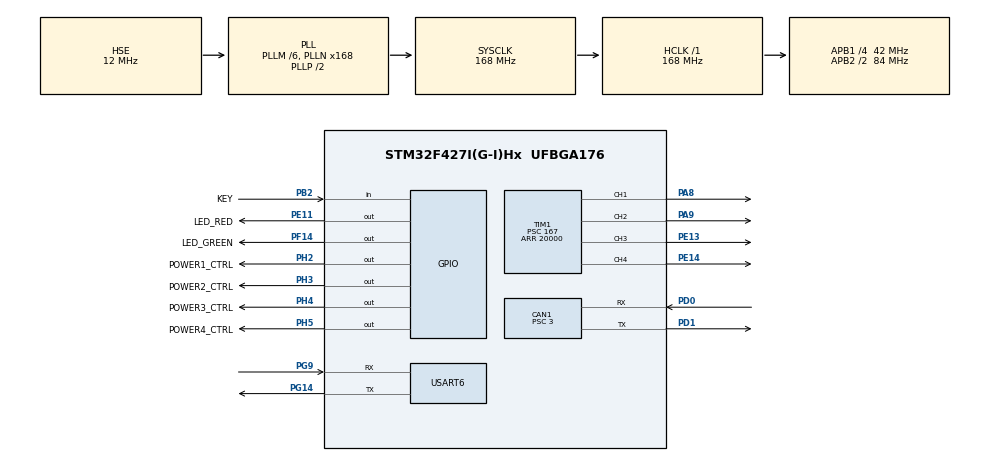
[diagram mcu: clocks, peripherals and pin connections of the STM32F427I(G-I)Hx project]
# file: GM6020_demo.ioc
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CAN1.ABOM=ENABLE
CAN1.BS1=CAN_BS1_9TQ
CAN1.BS2=CAN_BS2_4TQ
CAN1.CalculateTimeQuantum=71.42857142857143
CAN1.NART=DISABLE
CAN1.Prescaler=3
CAN1.SJW=CAN_SJW_1TQ
Mcu.Family=STM32F4
Mcu.Name=STM32F427I(G-I)Hx
Mcu.Package=UFBGA176
NVIC.CAN1_RX0_IRQn=true\:0\:0\:false\:false\:true\:true\:true\:true
NVIC.CAN1_TX_IRQn=true\:0\:0\:false\:false\:true\:true\:true\:true
NVIC.PriorityGroup=NVIC_PRIORITYGROUP_4
NVIC.USART6_IRQn=true\:0\:0\:false\:false\:true\:true\:true\:true
PA8.Signal=S_TIM1_CH1
PA9.Signal=S_TIM1_CH2
PB2/BOOT1.GPIO_Label=KEY
PB2/BOOT1.Signal=GPIO_Input
PD0.Mode=Master
PD0.Signal=CAN1_RX
PD1.Mode=Master
PD1.Signal=CAN1_TX
PE11.GPIO_Label=LED_RED
PE11.Signal=GPIO_Output
PE13.Signal=S_TIM1_CH3
PE14.Signal=S_TIM1_CH4
PF14.GPIO_Label=LED_GREEN
PF14.Signal=GPIO_Output
PG14.Mode=Asynchronous
PG14.Signal=USART6_TX
PG9.Mode=Asynchronous
PG9.Signal=USART6_RX
PH0/OSC_IN.Mode=HSE-External-Oscillator
PH0/OSC_IN.Signal=RCC_OSC_IN
PH1/OSC_OUT.Mode=HSE-External-Oscillator
PH1/OSC_OUT.Signal=RCC_OSC_OUT
PH2.GPIO_Label=POWER1_CTRL
PH2.Signal=GPIO_Output
PH3.GPIO_Label=POWER2_CTRL
PH3.Signal=GPIO_Output
PH4.GPIO_Label=POWER3_CTRL
PH4.Signal=GPIO_Output
PH5.GPIO_Label=POWER4_CTRL
PH5.Signal=GPIO_Output
ProjectManager.HeapSize=0x200
ProjectManager.StackSize=0x400
ProjectManager.TargetToolchain=MDK-ARM V5
RCC.48MHZClocksFreq_Value=84000000
RCC.AHBFreq_Value=168000000
RCC.APB1CLKDivider=RCC_HCLK_DIV4
RCC.APB1Freq_Value=42000000
RCC.APB1TimFreq_Value=84000000
RCC.APB2CLKDivider=RCC_HCLK_DIV2
RCC.APB2Freq_Value=84000000
RCC.APB2TimFreq_Value=168000000
RCC.CortexFreq_Value=168000000
RCC.HCLKFreq_Value=168000000
RCC.HSE_VALUE=12000000
RCC.HSI_VALUE=16000000
RCC.LSE_VALUE=32768
RCC.PLLM=6
RCC.PLLN=168
RCC.PLLSourceVirtual=RCC_PLLSOURCE_HSE
RCC.SYSCLKFreq_VALUE=168000000
RCC.SYSCLKSource=RCC_SYSCLKSOURCE_PLLCLK
RCC.VCOOutputFreq_Value=336000000
SH.S_TIM1_CH1.0=TIM1_CH1,PWM Generation1 CH1
SH.S_TIM1_CH2.0=TIM1_CH2,PWM Generation2 CH2
SH.S_TIM1_CH3.0=TIM1_CH3,PWM Generation3 CH3
SH.S_TIM1_CH4.0=TIM1_CH4,PWM Generation4 CH4
TIM1.Channel-PWM\ Generation1\ CH1=TIM_CHANNEL_1
TIM1.Channel-PWM\ Generation2\ CH2=TIM_CHANNEL_2
TIM1.Channel-PWM\ Generation3\ CH3=TIM_CHANNEL_3
TIM1.Channel-PWM\ Generation4\ CH4=TIM_CHANNEL_4
TIM1.Period=20000
TIM1.Prescaler=167
TIM1.Pulse-PWM\ Generation1\ CH1=1000
TIM1.Pulse-PWM\ Generation2\ CH2=1000
TIM1.Pulse-PWM\ Generation3\ CH3=1000
TIM1.Pulse-PWM\ Generation4\ CH4=1000
USART6.VirtualMode=VM_ASYNC
board=PWM

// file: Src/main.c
/* USER CODE BEGIN Header */
/**
  ******************************************************************************
  * @file           : main.c
  * @brief          : Main program body
  ******************************************************************************
  ** This notice applies to any and all portions of this file
  * that are not between comment pairs USER CODE BEGIN and
  * USER CODE END. Other portions of this file, whether
  * inserted by the user or by software development tools
  * are owned by their respective copyright owners.
  *
  * COPYRIGHT(c) 2018 STMicroelectronics
  *
  * Redistribution and use in source and binary forms, with or without modification,
  * are permitted provided that the following conditions are met:
  *   1. Redistributions of source code must retain the above copyright notice,
  *      this list of conditions and the following disclaimer.
  *   2. Redistributions in binary form must reproduce the above copyright notice,
  *      this list of conditions and the following disclaimer in the documentation
  *      and/or other materials provided with the distribution.
  *   3. Neither the name of STMicroelectronics nor the names of its contributors
  *      may be used to endorse or promote products derived from this software
  *      without specific prior written permission.
  *
  * THIS SOFTWARE IS PROVIDED BY THE COPYRIGHT HOLDERS AND CONTRIBUTORS "AS IS"
  * AND ANY EXPRESS OR IMPLIED WARRANTIES, INCLUDING, BUT NOT LIMITED TO, THE
  * IMPLIED WARRANTIES OF MERCHANTABILITY AND FITNESS FOR A PARTICULAR PURPOSE ARE
  * DISCLAIMED. IN NO EVENT SHALL THE COPYRIGHT HOLDER OR CONTRIBUTORS BE LIABLE
  * FOR ANY DIRECT, INDIRECT, INCIDENTAL, SPECIAL, EXEMPLARY, OR CONSEQUENTIAL
  * DAMAGES (INCLUDING, BUT NOT LIMITED TO, PROCUREMENT OF SUBSTITUTE GOODS OR
  * SERVICES; LOSS OF USE, DATA, OR PROFITS; OR BUSINESS INTERRUPTION) HOWEVER
  * CAUSED AND ON ANY THEORY OF LIABILITY, WHETHER IN CONTRACT, STRICT LIABILITY,
  * OR TORT (INCLUDING NEGLIGENCE OR OTHERWISE) ARISING IN ANY WAY OUT OF THE USE
  * OF THIS SOFTWARE, EVEN IF ADVISED OF THE POSSIBILITY OF SUCH DAMAGE.
  *
  ******************************************************************************
  */
/* USER CODE END Header */

#include "main.h"
#include "can.h"
#include "tim.h"
#include "usart.h"
#include "gpio.h"

/* USER CODE BEGIN Includes */
#include "bsp_key.h"
#include "bsp_led.h"
#include "bsp_can.h"
#include "bsp_pwm.h"
#include "pid.h"
/* USER CODE END Includes */

/* USER CODE BEGIN PV */
extern moto_info_t motor_info[MOTOR_MAX_NUM];
int16_t led_cnt;
pid_struct_t motor_pid[7];
float target_speed;
uint16_t pwm_pulse = 1080;  // default pwm pulse width:1080~1920
/* USER CODE END PV */

void SystemClock_Config(void);

int main(void)
{

  /* MCU Configuration--------------------------------------------------------*/

  /* Reset of all peripherals, Initializes the Flash interface and the Systick. */
  HAL_Init();

  /* Configure the system clock */
  SystemClock_Config();

  /* Initialize all configured peripherals */
  MX_GPIO_Init();
  MX_CAN1_Init();
  MX_TIM1_Init();
  MX_USART6_UART_Init();
  /* USER CODE BEGIN 2 */
  HAL_GPIO_WritePin(GPIOH, POWER1_CTRL_Pin|POWER2_CTRL_Pin|POWER3_CTRL_Pin|POWER4_CTRL_Pin, GPIO_PIN_SET); // switch on 24v power
  pwm_init();                              // start pwm output
  can_user_init(&hcan1);                   // config can filter, start can
  for (uint8_t i = 0; i < 7; i++)
  {
    pid_init(&motor_pid[i], 25, 0, 0.05, 9000, 9000); //init pid parameter, kp=25, ki=0, kd=0.05, output limit = 30000
  }
  /* USER CODE END 2 */

  /* Infinite loop */
  /* USER CODE BEGIN WHILE */
//	uint8_t mode,num;
  while (1)
  {

    /* led blink */
    led_cnt ++;
    if (led_cnt == 250)
    {
      led_cnt = 0;
      LED_RED_TOGGLE(); //blink cycle 500ms
    }

    /* scan is key be pressd down to change target speed and pwm pulse */

		//按下按键后电机旋转180度
    if (key_scan())
    {
			target_speed += 4000.0f;
			if(target_speed==8000)
			{
				target_speed = 0;
			}

    }

    /* motor speed pid calc */
    for (uint8_t i = 0; i < 7; i++)
    {
      motor_info[i].set_voltage = pid_calc(&motor_pid[i], target_speed, motor_info[i].rotor_angle);
    }
    /* send motor control message through can bus*/
    set_motor_voltage(0,
                      motor_info[0].set_voltage,
                      motor_info[1].set_voltage,
                      motor_info[2].set_voltage,
                      motor_info[3].set_voltage);

    set_motor_voltage(1,
                      motor_info[4].set_voltage,
                      motor_info[5].set_voltage,
                      motor_info[6].set_voltage,
                      0);

		printf("%d,%d\n",motor_info[0].rotor_angle,(int)target_speed);
    /* set pwm pulse width */
    __HAL_TIM_SetCompare(&htim1, TIM_CHANNEL_1, pwm_pulse);
    __HAL_TIM_SetCompare(&htim1, TIM_CHANNEL_2, pwm_pulse);
    __HAL_TIM_SetCompare(&htim1, TIM_CHANNEL_3, pwm_pulse);
    __HAL_TIM_SetCompare(&htim1, TIM_CHANNEL_4, pwm_pulse);

    /* system delay 1ms */
    HAL_Delay(0);
    /* USER CODE END WHILE */

  }
}

void SystemClock_Config(void)
{
  RCC_OscInitTypeDef RCC_OscInitStruct = {0};
  RCC_ClkInitTypeDef RCC_ClkInitStruct = {0};

  /**Configure the main internal regulator output voltage
  */
  __HAL_RCC_PWR_CLK_ENABLE();
  __HAL_PWR_VOLTAGESCALING_CONFIG(PWR_REGULATOR_VOLTAGE_SCALE1);
  /**Initializes the CPU, AHB and APB busses clocks
  */
  RCC_OscInitStruct.OscillatorType = RCC_OSCILLATORTYPE_HSE;
  RCC_OscInitStruct.HSEState = RCC_HSE_ON;
  RCC_OscInitStruct.PLL.PLLState = RCC_PLL_ON;
  RCC_OscInitStruct.PLL.PLLSource = RCC_PLLSOURCE_HSE;
  RCC_OscInitStruct.PLL.PLLM = 6;
  RCC_OscInitStruct.PLL.PLLN = 168;
  RCC_OscInitStruct.PLL.PLLP = RCC_PLLP_DIV2;
  RCC_OscInitStruct.PLL.PLLQ = 4;
  if (HAL_RCC_OscConfig(&RCC_OscInitStruct) != HAL_OK)
  {
    Error_Handler();
  }
  /**Initializes the CPU, AHB and APB busses clocks
  */
  RCC_ClkInitStruct.ClockType = RCC_CLOCKTYPE_HCLK|RCC_CLOCKTYPE_SYSCLK
                              |RCC_CLOCKTYPE_PCLK1|RCC_CLOCKTYPE_PCLK2;
  RCC_ClkInitStruct.SYSCLKSource = RCC_SYSCLKSOURCE_PLLCLK;
  RCC_ClkInitStruct.AHBCLKDivider = RCC_SYSCLK_DIV1;
  RCC_ClkInitStruct.APB1CLKDivider = RCC_HCLK_DIV4;
  RCC_ClkInitStruct.APB2CLKDivider = RCC_HCLK_DIV2;

  if (HAL_RCC_ClockConfig(&RCC_ClkInitStruct, FLASH_LATENCY_5) != HAL_OK)
  {
    Error_Handler();
  }
}

void Error_Handler(void)
{
}

/************************ (C) COPYRIGHT STMicroelectronics *****END OF FILE****/
